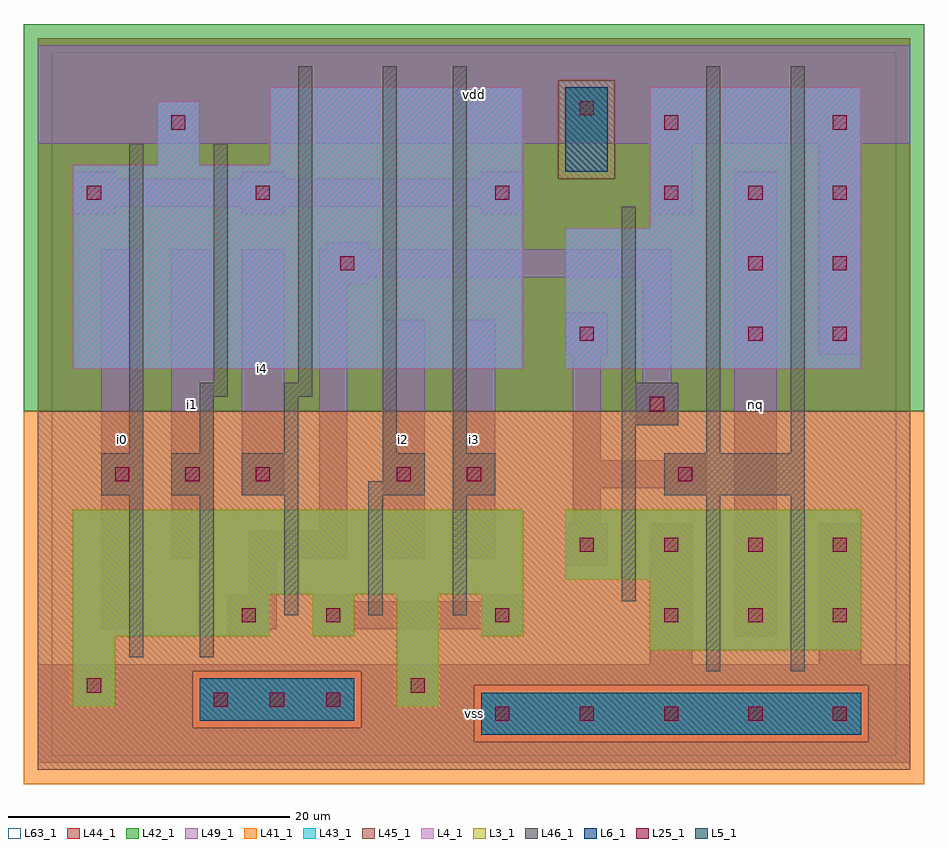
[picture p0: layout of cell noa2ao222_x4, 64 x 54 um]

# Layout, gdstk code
import gdstk
lib = gdstk.Library(unit=1e-6, precision=1e-09)
def R(c, l, rs):  # rectangles x0, y0, x1, y1
    for r in rs: c.add(gdstk.rectangle(r[:2], r[2:], *l))
def A(c, l, x, y, w, h, nx, ny, dx, dy):  # array of equal rectangles
    R(c, l, [(x+i*dx, y+j*dy, x+i*dx+w, y+j*dy+h) for i in range(nx) for j in range(ny)])
L3_1 = (3, 1)
L4_1 = (4, 1)
L5_1 = (5, 1)
L6_1 = (6, 1)
L25_1 = (25, 1)
L41_1 = (41, 1)
L42_1 = (42, 1)
L43_1 = (43, 1)
L44_1 = (44, 1)
L45_1 = (45, 1)
L46_1 = (46, 1)
L49_1 = (49, 1)
L63_1 = (63, 1)

noa2ao222_x4 = lib.new_cell('noa2ao222_x4')
R(noa2ao222_x4, L3_1, [(1.5,3.5,4.5,8.5), (24.5,3.5,27.5,11.5), (42.5,7.5,57.5,12.5), (1.5,8.5,15.5,11.5), (18.5,8.5,21.5,11.5), (30.5,8.5,33.5,11.5), (1.5,11.5,33.5,17.5), (36.5,12.5,57.5,17.5)])
R(noa2ao222_x4, L4_1, [(1.5,27.5,33.5,42), (36.5,27.5,57.5,37.5), (42.5,37.5,57.5,47.5), (7.5,42,10.5,46.5), (15.5,42,33.5,47.5)])
R(noa2ao222_x4, L5_1, [(36.5,41.5,39.5,47.5)])
R(noa2ao222_x4, L6_1, [(30.5,1.5,57.5,4.5), (10.5,2.5,21.5,5.5)])
A(noa2ao222_x4, L25_1, 31.5, 2.5, 1, 1, 5, 1, 6, 0)
A(noa2ao222_x4, L25_1, 11.5, 3.5, 1, 1, 3, 1, 4, 0)
A(noa2ao222_x4, L25_1, 19.5, 9.5, 1, 1, 3, 1, 12, 0)
A(noa2ao222_x4, L25_1, 37.5, 14.5, 1, 1, 4, 1, 6, 0)
A(noa2ao222_x4, L25_1, 4.5, 19.5, 1, 1, 3, 1, 5, 0)
A(noa2ao222_x4, L25_1, 43.5, 39.5, 1, 1, 3, 1, 6, 0)
R(noa2ao222_x4, L25_1, [(2.5,4.5,3.5,5.5), (25.5,4.5,26.5,5.5), (13.5,9.5,14.5,10.5), (49.5,9.5,50.5,10.5), (55.5,9.5,56.5,10.5), (24.5,19.5,25.5,20.5), (29.5,19.5,30.5,20.5), (44.5,19.5,45.5,20.5), (42.5,24.5,43.5,25.5), (37.5,29.5,38.5,30.5), (49.5,29.5,50.5,30.5), (55.5,29.5,56.5,30.5), (20.5,34.5,21.5,35.5), (49.5,34.5,50.5,35.5), (55.5,34.5,56.5,35.5), (2.5,39.5,3.5,40.5), (14.5,39.5,15.5,40.5), (31.5,39.5,32.5,40.5), (8.5,44.5,9.5,45.5), (43.5,44.5,44.5,45.5), (55.5,44.5,56.5,45.5), (37.5,45.5,38.5,46.5)])
R(noa2ao222_x4, L41_1, [(-2,-2,62,24.5)])
R(noa2ao222_x4, L42_1, [(-2,24.5,62,52)])
R(noa2ao222_x4, L43_1, [(30.5,1.5,57.5,4.5), (10.5,2.5,21.5,5.5), (1.5,3.5,4.5,8.5), (24.5,3.5,27.5,11.5), (42.5,7.5,57.5,12.5), (1.5,8.5,15.5,11.5), (18.5,8.5,21.5,11.5), (30.5,8.5,33.5,11.5), (1.5,11.5,33.5,17.5), (36.5,12.5,57.5,17.5), (1.5,27.5,33.5,42), (36.5,27.5,57.5,37.5), (42.5,37.5,57.5,47.5), (36.5,41.5,39.5,47.5), (7.5,42,10.5,46.5), (15.5,42,33.5,47.5)])
R(noa2ao222_x4, L44_1, [(30,1,58,5), (10,2,22,6), (-1,24.5,61,41), (-1,41,36,48), (40,41,61,48), (-1,48,61,51)])
R(noa2ao222_x4, L45_1, [(-1,-1,61,1), (-1,1,30,2), (58,1,61,5), (-1,2,10,6), (22,2,30,5), (22,5,61,6), (-1,6,61,24.5), (36,41,40,48)])
A(noa2ao222_x4, L46_1, 16.5, 10, 1, 8.5, 3, 1, 6, 0)
R(noa2ao222_x4, L46_1, [(46.5,6,47.5,18.5), (52.5,6,53.5,18.5), (5.5,7,6.5,18.5), (10.5,7,11.5,18.5), (40.5,11,41.5,23.5), (3.5,18.5,6.5,21.5), (8.5,18.5,11.5,21.5), (13.5,18.5,17.5,21.5), (22.5,18.5,26.5,19.5), (28.5,18.5,31.5,21.5), (43.5,18.5,53.5,21.5), (23.5,19.5,26.5,21.5), (5.5,21.5,6.5,43.5), (10.5,21.5,11.5,25.5), (16.5,21.5,17.5,25.5), (23.5,21.5,24.5,49), (28.5,21.5,29.5,49), (46.5,21.5,47.5,49), (52.5,21.5,53.5,49), (40.5,23.5,44.5,26.5), (10.5,25.5,12.5,26.5), (16.5,25.5,18.5,26.5), (11.5,26.5,12.5,43.5), (17.5,26.5,18.5,49), (40.5,26.5,41.5,39)])
R(noa2ao222_x4, L49_1, [(-1,-0.5,61,6.5), (42.5,6.5,45.5,16.5), (54.5,6.5,57.5,16.5), (12.5,8.5,15.5,9), (18.5,8.5,21.5,9), (30.5,8.5,33.5,9), (48.5,8.5,51.5,41.5), (3.5,9,6.5,36), (12.5,9,16,11.5), (18.5,9,33.5,11), (18.5,11,21.5,11.5), (30.5,11,33.5,11.5), (14,11.5,16,14), (36.5,13.5,39.5,16.5), (8.5,14,11.5,36), (14,14,21,16), (23.5,14,26.5,31), (28.5,14,31.5,31), (19,16,21,33.5), (37,16.5,39,19), (13.5,18.5,16.5,36), (43.5,18.5,46.5,19), (37,19,46.5,21), (37,21,39,28.5), (43.5,21,46.5,21.5), (41.5,23.5,44.5,26.5), (42,26.5,44,34), (36.5,28.5,39.5,31.5), (54.5,28.5,57.5,43.5), (19,33.5,22.5,34), (19,34,44,36), (19.5,36,22.5,36.5), (1.5,38.5,4.5,39), (13.5,38.5,16.5,39), (30.5,38.5,33.5,39), (42.5,38.5,45.5,43.5), (1.5,39,33.5,41), (1.5,41,4.5,41.5), (13.5,41,16.5,41.5), (30.5,41,33.5,41.5), (-1,43.5,61,50.5)])
R(noa2ao222_x4, L63_1, [(0,0,60,50)])
noa2ao222_x4.add(gdstk.Label('i0', (5,22.5), layer=49, texttype=1))
noa2ao222_x4.add(gdstk.Label('i1', (10,25), layer=49, texttype=1))
noa2ao222_x4.add(gdstk.Label('i1', (10,25), layer=49, texttype=1))
noa2ao222_x4.add(gdstk.Label('i0', (5,22.5), layer=49, texttype=1))
noa2ao222_x4.add(gdstk.Label('i4', (15,27.5), layer=49, texttype=1))
noa2ao222_x4.add(gdstk.Label('i4', (15,27.5), layer=49, texttype=1))
noa2ao222_x4.add(gdstk.Label('vss', (30,3), layer=49, texttype=1))
noa2ao222_x4.add(gdstk.Label('vss', (30,3), layer=49, texttype=1))
noa2ao222_x4.add(gdstk.Label('i2', (25,22.5), layer=49, texttype=1))
noa2ao222_x4.add(gdstk.Label('i2', (25,22.5), layer=49, texttype=1))
noa2ao222_x4.add(gdstk.Label('i3', (30,22.5), layer=49, texttype=1))
noa2ao222_x4.add(gdstk.Label('i3', (30,22.5), layer=49, texttype=1))
noa2ao222_x4.add(gdstk.Label('vdd', (30,47), layer=49, texttype=1))
noa2ao222_x4.add(gdstk.Label('vdd', (30,47), layer=49, texttype=1))
noa2ao222_x4.add(gdstk.Label('nq', (50,25), layer=49, texttype=1))
noa2ao222_x4.add(gdstk.Label('nq', (50,25), layer=49, texttype=1))

lib.write_gds('noa2ao222_x4.gds')
